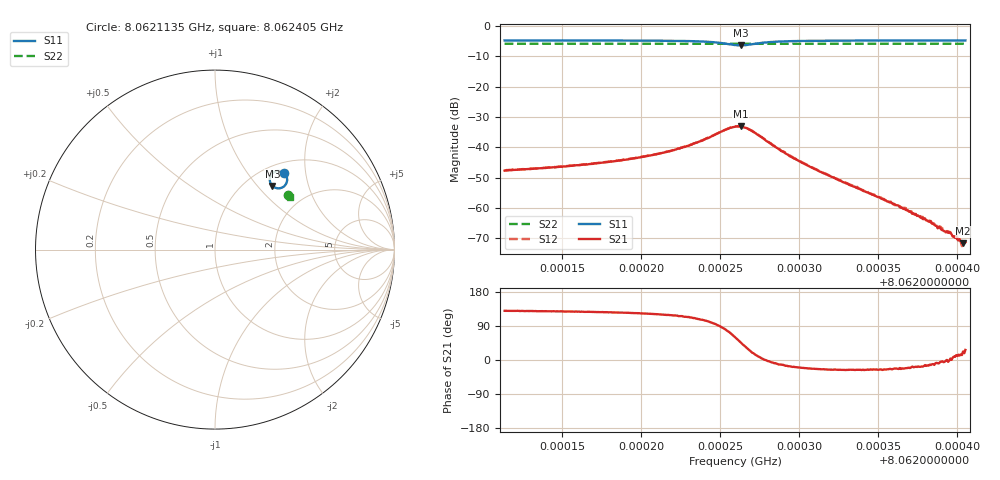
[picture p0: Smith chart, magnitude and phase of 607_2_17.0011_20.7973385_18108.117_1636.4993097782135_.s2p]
#  HZ  S  RI  R  50.00
! Rohde & Schwarz Vector Network Analyzer
! Rohde-Schwarz,ZNB20-2Port,1311601062101988,3.16
! Created: UTC 3/20/2024, 11:19:16 PM
! freq[Hz]  re:S11  im:S11  re:S21  im:S21  re:S12  im:S12  re:S22  im:S22
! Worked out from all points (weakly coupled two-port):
!   401 points, 8.0621135 GHz to 8.062405 GHz, reference 50 ohm
!   highest |S21| = -33.13 dB at 8.0622629 GHz (marker M1); lowest = -71.7 dB at 8.0624036 GHz (marker M2)
!   lowest |S11| = -6.4 dB at 8.0622629 GHz (marker M3), VSWR 2.83, Z = 65.7 + j60.3 ohm
!   |S11| at or under -10 dB: nowhere
!   |S22| runs from -6.0 to -5.9 dB; largest |S21 - S12| = 0.0014
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8.06211348e9  0.385 0.4283  -0.00264 0.00317  -0.00245 0.00339  0.4069 0.305
8.06216231e9  0.3905 0.4222  -0.00314 0.00408  -0.00291 0.0043  0.4085 0.3025
8.06218855e9  0.3944 0.4167  -0.00353 0.00508  -0.00326 0.00531  0.4097 0.301
8.06221114e9  0.3986 0.4083  -0.00399 0.00676  -0.00361 0.00702  0.4105 0.2995
8.06223009e9  0.402 0.3935  -0.00426 0.00974  -0.00348 0.0102  0.4111 0.2978
8.06224831e9  0.3909 0.3588  -0.000474 0.0169  0.000405 0.0171  0.4106 0.2955
8.06225925e9  0.3417 0.3427  0.0108 0.019  0.0117 0.0187  0.4086 0.295
8.06226289e9  0.3202 0.3544  0.0153 0.0159  0.0161 0.0152  0.4079 0.2956
8.06226799e9  0.3054 0.3838  0.0177 0.00904  0.0182 0.00805  0.4079 0.2969
8.06227965e9  0.3239 0.4285  0.0125 -0.000509  0.0127 -0.00111  0.4097 0.298
8.06229496e9  0.3502 0.4385  0.00661 -0.0021  0.00656 -0.0025  0.4115 0.2975
8.06230808e9  0.3619 0.4378  0.00424 -0.00178  0.00416 -0.00205  0.4125 0.2966
8.06235691e9  0.3792 0.4316  0.00113 -0.000497  0.00109 -0.000613  0.4147 0.2937
8.06236711e9  0.3811 0.4306  0.000869 -0.000348  0.000912 -0.000408  0.4151 0.2932
8.06237076e9  0.3817 0.4301  0.000791 -0.000274  0.000813 -0.000349  0.4153 0.2929
8.06238169e9  0.3833 0.429  0.000576 -0.000154  0.000589 -0.000176  0.4156 0.2924
8.06238971e9  0.3843 0.4283  0.00044 -3.44e-05  0.000464 -0.000111  0.416 0.2917
8.06239481e9  0.3851 0.428  0.000405 -9.45e-06  0.000383 -4.43e-05  0.4162 0.2917
8.06240064e9  0.3856 0.4273  0.000282 7.14e-05  0.000297 3.73e-05  0.4164 0.2913
8.0624021e9  0.3859 0.4273  0.000266 7.05e-05  0.000266 5.51e-05  0.4164 0.2913
8.06240355e9  0.386 0.4271  0.00024 0.0001  0.000252 9.14e-05  0.4165 0.2912
8.06240501e9  0.3863 0.4271  0.000242 0.000121  0.00025 7.34e-05  0.4167 0.2912
